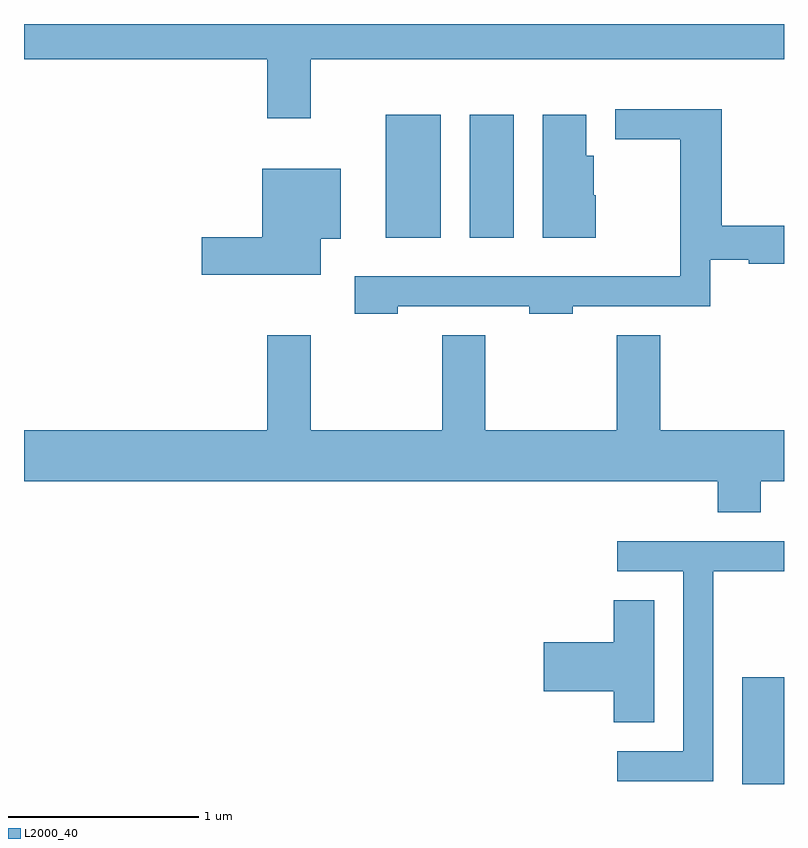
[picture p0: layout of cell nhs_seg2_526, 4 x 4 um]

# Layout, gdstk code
import gdstk
lib = gdstk.Library(unit=1e-6, precision=1e-09)
def R(c, l, rs):  # rectangles x0, y0, x1, y1
    for r in rs: c.add(gdstk.rectangle(r[:2], r[2:], *l))
def P(c, l, *ps):  # polygons
    for p in ps: c.add(gdstk.Polygon(p, *l))
L2000_40 = (2000, 40)

nhs_seg2_526 = lib.new_cell('nhs_seg2_526')
R(nhs_seg2_526, L2000_40, [(203.391,1077.802,203.611,1078.364), (201.516,1080.676,201.804,1081.324), (201.956,1080.676,202.189,1081.324)])
P(nhs_seg2_526, L2000_40, [(201.119,1081.616),(203.611,1081.616),(203.611,1081.802),(199.611,1081.802),(199.611,1081.616),(200.891,1081.616),(200.891,1081.306),(201.119,1081.306)],
  [(201.579,1080.316),(202.271,1080.316),(202.271,1080.276),(202.499,1080.276),(202.499,1080.316),(203.224,1080.316),(203.224,1080.561),(203.426,1080.561),(203.426,1080.541),(203.611,1080.541),(203.611,1080.739),(203.284,1080.739),(203.284,1081.354),(202.723,1081.354),(202.723,1081.196),(203.066,1081.196),(203.066,1080.474),(201.351,1080.474),(201.351,1080.276),(201.579,1080.276)],
  [(202.619,1080.9),(202.609,1080.9),(202.609,1081.109),(202.569,1081.109),(202.569,1081.324),(202.341,1081.324),(202.341,1080.676),(202.619,1080.676)],
  [(201.174,1080.671),(201.279,1080.671),(201.279,1081.039),(200.866,1081.039),(200.866,1080.679),(200.546,1080.679),(200.546,1080.481),(201.174,1080.481)],
  [(203.489,1079.396),(203.611,1079.396),(203.611,1079.664),(202.959,1079.664),(202.959,1080.164),(202.731,1080.164),(202.731,1079.664),(202.039,1079.664),(202.039,1080.164),(201.811,1080.164),(201.811,1079.664),(201.119,1079.664),(201.119,1080.164),(200.891,1080.164),(200.891,1079.664),(199.611,1079.664),(199.611,1079.396),(203.261,1079.396),(203.261,1079.231),(203.489,1079.231)],
  [(203.239,1078.921),(203.611,1078.921),(203.611,1079.079),(202.733,1079.079),(202.733,1078.921),(203.081,1078.921),(203.081,1077.974),(202.733,1077.974),(202.733,1077.816),(203.239,1077.816)],
  [(202.929,1078.769),(202.716,1078.769),(202.716,1078.549),(202.346,1078.549),(202.346,1078.291),(202.716,1078.291),(202.716,1078.126),(202.929,1078.126)])

lib.write_gds('nhs_seg2_526.gds')
